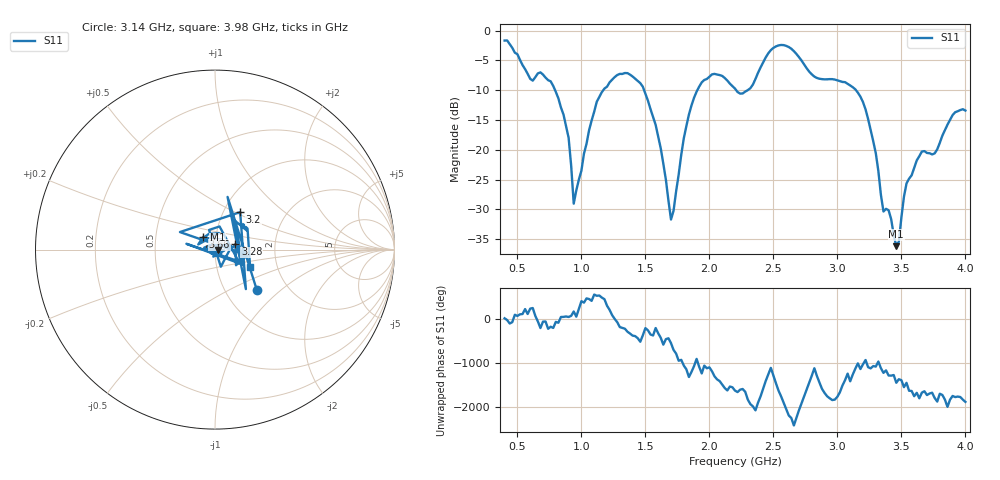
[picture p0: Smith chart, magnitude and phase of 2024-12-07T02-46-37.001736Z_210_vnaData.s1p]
!Created with skrf (http://scikit-rf.org).
# Hz S RI R 50.0
!freq ReS11 ImS11
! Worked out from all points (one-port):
!   181 points, 400 MHz to 4 GHz, reference 50 ohm
!   lowest |S11| = -36.2 dB at 3.46 GHz (marker M1), VSWR 1.03, Z = 51.6 - j0.127 ohm
!   |S11| at or under -10 dB: 794.5 MHz to 1.17 GHz (375.9 MHz wide, 38.3 % of centre); 1.49 GHz to 1.906 GHz (415.5 MHz wide, 24.5 % of centre); 3.146 GHz to end of sweep (the widest 3 of 4)
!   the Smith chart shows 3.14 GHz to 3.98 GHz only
!   S11 on the Smith chart (normalised r, x): 3.14 GHz: 1.40, -0.70; 3.2 GHz: 1.20, +0.53; 3.28 GHz: 1.25, +0.08; 3.66 GHz: 0.87, +0.12; 3.98 GHz: 1.45, -0.30
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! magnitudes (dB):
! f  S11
! 400 MHz  -1.7
! 600 MHz  -8.1
! 760 MHz  -8.5
! 860 MHz  -14.1
! 900 MHz  -18.0
! 940 MHz  -29.0
! 1.12 GHz  -11.9
! 1.3 GHz  -7.3
! 1.52 GHz  -11.8
! 1.62 GHz  -19.8
! 1.7 GHz  -31.7
! 1.76 GHz  -24.1
! 1.84 GHz  -14.1
! 1.94 GHz  -8.7
! 2.2 GHz  -9.7
! 2.32 GHz  -9.7
! 2.5 GHz  -2.9
! 2.66 GHz  -3.4
! 3.1 GHz  -9.2
! 3.14 GHz  -9.8
! 3.2 GHz  -12.0
! 3.28 GHz  -18.6
! 3.36 GHz  -30.4
! 3.46 GHz  -36.2
! 3.56 GHz  -24.8
! 3.66 GHz  -20.3
! 3.98 GHz  -13.2
! 4 GHz  -13.4
